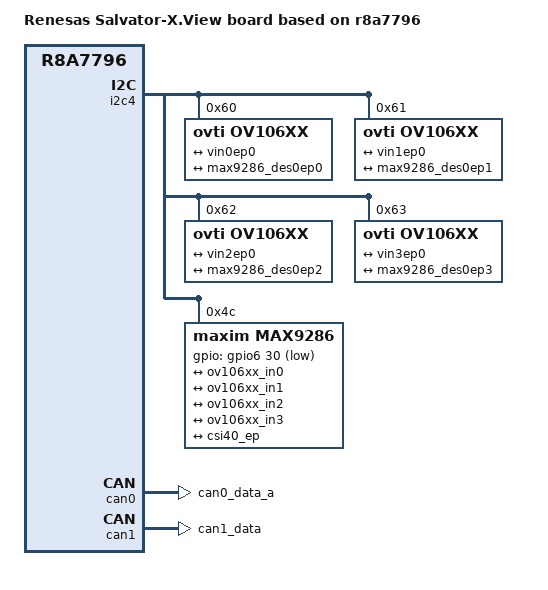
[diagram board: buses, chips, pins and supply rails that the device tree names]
/*
 * Device Tree Source for the Salvator-X.View board
 *
 * Copyright (C) 2016-2017 Renesas Electronics Corp.
 * Copyright (C) 2016-2017 Cogent Embedded, Inc
 *
 * This file is licensed under the terms of the GNU General Public License
 * version 2.  This program is licensed "as is" without any warranty of any
 * kind, whether express or implied.
 */

#include "r8a7796-salvator-x.dts"

/ {
	model = "Renesas Salvator-X.View board based on r8a7796";
};

&pfc {
	can0_pins: can0 {
		groups = "can0_data_a";
		function = "can0";
	};

	can1_pins: can1 {
		groups = "can1_data";
		function = "can1";
	};
};

&i2c4 {
	/delete-node/hdmi-in@34;
	/delete-node/composite-in@70;

	ov106xx@0 {
		compatible = "ovti,ov106xx";
		reg = <0x60>;

		port@0 {
			ov106xx_in0: endpoint {
				clock-lanes = <0>;
				data-lanes = <1 2 3 4>;
				remote-endpoint = <&vin0ep0>;
			};
		};
		port@1 {
			ov106xx_max9286_des0ep0: endpoint@0 {
				remote-endpoint = <&max9286_des0ep0>;
			};
		};
	};

	ov106xx@1 {
		compatible = "ovti,ov106xx";
		reg = <0x61>;

		port@0 {
			ov106xx_in1: endpoint {
				clock-lanes = <0>;
				data-lanes = <1 2 3 4>;
				remote-endpoint = <&vin1ep0>;
			};
		};
		port@1 {
			ov106xx_max9286_des0ep1: endpoint@0 {
				remote-endpoint = <&max9286_des0ep1>;
			};
		};
	};

	ov106xx@2 {
		compatible = "ovti,ov106xx";
		reg = <0x62>;

		port@0 {
			ov106xx_in2: endpoint {
				clock-lanes = <0>;
				data-lanes = <1 2 3 4>;
				remote-endpoint = <&vin2ep0>;
			};
		};
		port@1 {
			ov106xx_max9286_des0ep2: endpoint@0 {
				remote-endpoint = <&max9286_des0ep2>;
			};
		};
	};

	ov106xx@3 {
		compatible = "ovti,ov106xx";
		reg = <0x63>;

		port@0 {
			ov106xx_in3: endpoint {
				clock-lanes = <0>;
				data-lanes = <1 2 3 4>;
				remote-endpoint = <&vin3ep0>;
			};
		};
		port@1 {
			ov106xx_des0ep3: endpoint {
				remote-endpoint = <&max9286_des0ep3>;
			};
		};
	};

	max9286@0 {
		compatible = "maxim,max9286";
		reg = <0x4c>;
		gpios = <&gpio6 30 GPIO_ACTIVE_LOW>;
		maxim,links = <4>;
		maxim,lanes = <4>;
		maxim,resetb-gpio = <1>;
		maxim,fsync-mode = "automatic";
		maxim,timeout = <100>;
		maxim,i2c-quirk = <0x6c>;

		port@0 {
			max9286_des0ep0: endpoint@0 {
				max9271-addr = <0x50>;
				dvp-order = <1>;
				remote-endpoint = <&ov106xx_in0>;
			};
			max9286_des0ep1: endpoint@1 {
				max9271-addr = <0x51>;
				dvp-order = <1>;
				remote-endpoint = <&ov106xx_in1>;
			};
			max9286_des0ep2: endpoint@2 {
				max9271-addr = <0x52>;
				dvp-order = <1>;
				remote-endpoint = <&ov106xx_in2>;
			};
			max9286_des0ep3: endpoint@3 {
				max9271-addr = <0x53>;
				dvp-order = <1>;
				remote-endpoint = <&ov106xx_in3>;
			};
		};
		port@1 {
			max9286_csi0ep0: endpoint {
				csi-rate = <700>;
				remote-endpoint = <&csi40_ep>;
			};
		};
	};
};

&vin0 {
	ports {
		#address-cells = <1>;
		#size-cells = <0>;

		port@0 {
			vin0ep0: endpoint {
				csi,select = "csi40";
				virtual,channel = <0>;
				data-lanes = <1 2 3 4>;
				remote-endpoint = <&ov106xx_in0>;
			};
		};
		port@1 {
			csi0ep0: endpoint {
				remote-endpoint = <&csi40_ep>;
			};
		};
		port@2 {
			vin0_max9286_des0ep0: endpoint@0 {
				remote-endpoint = <&max9286_des0ep0>;
			};
		};
	};
};

&vin1 {
	ports {
		#address-cells = <1>;
		#size-cells = <0>;

		port@0 {
			vin1ep0: endpoint {
				csi,select = "csi40";
				virtual,channel = <1>;
				data-lanes = <1 2 3 4>;
				remote-endpoint = <&ov106xx_in1>;
			};
		};
		port@1 {
			csi0ep1: endpoint {
				remote-endpoint = <&csi40_ep>;
			};
		};
		port@2 {
			vin1_max9286_des0ep1: endpoint@0 {
				remote-endpoint = <&max9286_des0ep1>;
			};
		};
	};
};

&vin2 {
	ports {
		#address-cells = <1>;
		#size-cells = <0>;

		port@0 {
			vin2ep0: endpoint {
				csi,select = "csi40";
				virtual,channel = <2>;
				data-lanes = <1 2 3 4>;
				remote-endpoint = <&ov106xx_in2>;
			};
		};
		port@1 {
			csi0ep2: endpoint {
				remote-endpoint = <&csi40_ep>;
			};
		};
		port@2 {
			vin2_max9286_des0ep2: endpoint@0 {
				remote-endpoint = <&max9286_des0ep2>;
			};
		};
	};
};

&vin3 {
	ports {
		#address-cells = <1>;
		#size-cells = <0>;

		port@0 {
			vin3ep0: endpoint {
				csi,select = "csi40";
				virtual,channel = <3>;
				data-lanes = <1 2 3 4>;
				remote-endpoint = <&ov106xx_in3>;
			};
		};
		port@1 {
			csi0ep3: endpoint {
				remote-endpoint = <&csi40_ep>;
			};
		};
		port@2 {
			vin3_max9286_des0ep3: endpoint@0 {
				remote-endpoint = <&max9286_des0ep3>;
			};
		};
	};
};

&vin4 {
	status = "disabled";
};

&vin5 {
	status = "disabled";
};

&vin6 {
	status = "disabled";
};

&vin7 {
	status = "disabled";
};

&csi20 {
	status = "disabled";
	/delete-node/ports;
};

&csi40 {
	/delete-node/ports;

	virtual,channel {
		csi2_vc0 {
			data,type = "ycbcr422";
			receive,vc = <0>;
		};
		csi2_vc1 {
			data,type = "ycbcr422";
			receive,vc = <1>;
		};
		csi2_vc2 {
			data,type = "ycbcr422";
			receive,vc = <2>;
		};
		csi2_vc3 {
			data,type = "ycbcr422";
			receive,vc = <3>;
		};
	};

	port {
		#address-cells = <1>;
		#size-cells = <0>;

		csi40_ep: endpoint {
			clock-lanes = <0>;
			data-lanes = <1 2 3 4>;
			csi-rate = <300>;
		};
	};
};

&can0 {
	pinctrl-0 = <&can0_pins>;
	pinctrl-names = "default";
	status = "okay";
};

&can1 {
	pinctrl-0 = <&can1_pins>;
	pinctrl-names = "default";
	status = "okay";
};
